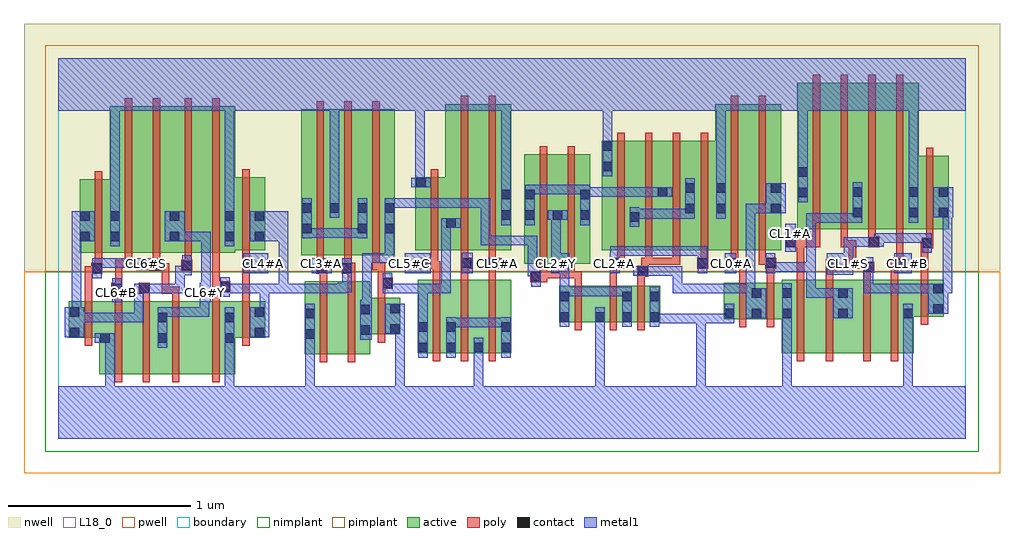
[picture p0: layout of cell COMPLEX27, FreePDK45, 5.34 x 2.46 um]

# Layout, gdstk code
import gdstk
lib = gdstk.Library(unit=1e-6, precision=1e-09)
def R(c, l, rs):  # rectangles x0, y0, x1, y1
    for r in rs: c.add(gdstk.rectangle(r[:2], r[2:], *l))
def A(c, l, x, y, w, h, nx, ny, dx, dy):  # array of equal rectangles
    R(c, l, [(x+i*dx, y+j*dy, x+i*dx+w, y+j*dy+h) for i in range(nx) for j in range(ny)])
active = (1, 0)
pwell = (2, 0)
nwell = (3, 0)
nimplant = (4, 0)
pimplant = (5, 0)
poly = (9, 0)
contact = (10, 0)
metal1 = (11, 0)
L18_0 = (18, 0)
boundary = (235, 0)

complex27 = lib.new_cell('COMPLEX27')
A(complex27, active, 1.964, 0.468, 0.06, 0.4, 3, 1, 0.152, 0)
A(complex27, active, 3.12, 1.03, 0.06, 0.526, 3, 1, 0.152, 0)
R(complex27, active, [(0.224,0.352,0.404,0.752), (0.404,0.352,0.598,0.752), (0.538,0.352,0.718,0.752), (0.718,0.352,0.966,0.752), (0.906,0.352,0.966,0.694), (1.346,0.462,1.526,0.862), (1.526,0.462,1.706,0.862), (1.646,0.462,1.706,0.736), (0.538,0.468,0.598,0.694), (1.346,0.468,1.406,0.862), (1.964,0.468,2.176,0.868), (2.116,0.468,2.328,0.868), (2.268,0.468,2.476,0.868), (2.416,0.468,2.476,0.868), (3.954,0.468,4.14,0.868), (3.954,0.468,4.014,0.826), (4.14,0.468,4.32,0.868), (4.26,0.468,4.32,0.868), (4.26,0.468,4.496,0.868), (4.496,0.468,4.676,0.868), (4.616,0.468,4.676,0.868), (0.224,0.522,0.284,0.752), (0.058,0.552,0.118,0.752), (0.058,0.552,0.284,0.752), (0.906,0.552,1.13,0.752), (1.07,0.552,1.13,0.752), (1.646,0.57,1.87,0.77), (1.81,0.57,1.87,0.77), (2.738,0.636,2.798,0.836), (2.738,0.636,2.99,0.836), (2.93,0.636,3.138,0.836), (2.93,0.636,2.99,0.696), (3.078,0.636,3.138,0.808), (3.078,0.636,3.29,0.836), (3.23,0.636,3.29,0.836), (3.638,0.654,3.698,0.854), (3.638,0.654,3.846,0.854), (3.786,0.654,4.014,0.854), (3.786,0.654,3.846,0.826), (4.616,0.668,4.84,0.868), (4.78,0.668,4.84,0.868), (2.548,0.956,2.76,1.556), (2.548,0.956,2.608,1.556), (2.7,0.956,2.908,1.556), (2.7,0.956,2.76,1.556), (2.848,0.956,2.908,1.556), (1.328,1.002,1.388,1.724), (1.328,1.002,1.54,1.802), (1.48,1.002,1.692,1.802), (1.632,1.002,1.692,1.724), (1.632,1.002,1.84,1.802), (1.78,1.002,1.84,1.724), (0.116,1.018,0.176,1.418), (0.116,1.018,0.34,1.418), (0.28,1.018,0.46,1.818), (0.46,1.018,0.666,1.818), (0.606,1.018,0.786,1.818), (0.606,1.018,0.666,1.724), (0.786,1.018,0.966,1.818), (0.906,1.03,1.13,1.43), (0.906,1.03,0.966,1.356), (1.07,1.03,1.13,1.356), (1.952,1.03,2.012,1.43), (1.952,1.03,2.176,1.43), (2.116,1.03,2.296,1.83), (2.296,1.03,2.476,1.83), (2.416,1.03,2.476,1.756), (2.972,1.03,3.18,1.63), (2.972,1.03,3.032,1.63), (3.12,1.03,3.332,1.63), (3.272,1.03,3.484,1.63), (3.424,1.03,3.652,1.63), (3.592,1.03,3.772,1.83), (3.592,1.03,3.652,1.556), (3.772,1.03,3.952,1.83), (3.892,1.03,3.952,1.724), (0.28,1.076,0.34,1.356), (4.04,1.146,4.22,1.946), (4.04,1.146,4.1,1.756), (4.22,1.146,4.4,1.946), (4.34,1.146,4.524,1.946), (4.34,1.146,4.4,1.724), (4.524,1.146,4.704,1.946), (4.644,1.146,4.704,1.378), (4.644,1.146,4.868,1.546), (4.808,1.146,4.868,1.378), (2.116,1.15,2.176,1.62), (1.48,1.206,1.54,1.756)])
R(complex27, pwell, [(-0.188,-0.188,5.148,0.912)])
R(complex27, nwell, [(-0.188,0.912,5.148,2.268)])
R(complex27, nimplant, [(-0.072,-0.072,5.032,0.912)])
R(complex27, pimplant, [(-0.072,0.912,5.032,2.152)])
A(complex27, poly, 2.048, 0.424, 0.04, 0.488, 3, 1, 0.152, 0)
A(complex27, poly, 2.048, 0.872, 0.04, 0.098, 3, 1, 0.152, 0)
A(complex27, poly, 1.412, 0.922, 0.04, 0.076, 3, 1, 0.152, 0)
A(complex27, poly, 3.056, 0.95, 0.04, 0.076, 4, 1, 0.152, 0)
A(complex27, poly, 1.412, 0.958, 0.04, 0.888, 3, 1, 0.152, 0)
A(complex27, poly, 3.056, 0.986, 0.04, 0.688, 4, 1, 0.152, 0)
A(complex27, poly, 4.124, 1.102, 0.04, 0.888, 4, 1, 0.152, 0)
R(complex27, poly, [(0.308,0.308,0.348,0.796), (0.46,0.308,0.5,0.796), (0.622,0.308,0.662,0.796), (0.842,0.308,0.882,0.796), (1.43,0.418,1.47,0.906), (1.582,0.418,1.622,0.906), (4.038,0.424,4.078,0.912), (4.196,0.424,4.236,0.912), (4.4,0.424,4.44,0.912), (4.552,0.424,4.592,0.912), (0.144,0.508,0.184,0.796), (1.006,0.508,1.046,0.796), (1.746,0.526,1.786,0.814), (2.822,0.592,2.862,0.88), (3.014,0.592,3.054,0.88), (3.166,0.592,3.206,0.88), (3.722,0.61,3.762,0.898), (3.874,0.61,3.914,0.898), (4.716,0.624,4.756,0.912), (0.144,0.756,0.184,0.942), (0.308,0.756,0.348,0.832), (0.46,0.756,0.5,0.832), (0.622,0.756,0.662,0.832), (0.842,0.756,0.882,0.84), (1.006,0.756,1.046,0.97), (1.746,0.774,1.786,0.86), (0.29,0.792,0.35,0.852), (0.44,0.792,0.5,0.852), (0.566,0.792,0.606,0.832), (0.566,0.792,0.662,0.832), (0.566,0.792,0.606,0.958), (0.622,0.792,0.662,0.832), (0.842,0.8,0.94,0.86), (0.31,0.812,0.35,0.978), (0.842,0.82,0.882,0.86), (0.842,0.82,0.882,0.86), (0.842,0.82,0.882,1.014), (1.746,0.82,1.828,0.88), (1.746,0.84,1.786,0.962), (2.822,0.84,2.862,0.916), (3.014,0.84,3.054,0.97), (3.166,0.84,3.206,0.926), (2.58,0.856,2.672,0.916), (3.722,0.858,3.762,0.97), (3.874,0.858,3.914,0.97), (1.43,0.866,1.47,0.942), (1.582,0.866,1.622,0.942), (4.038,0.872,4.078,1.086), (4.196,0.872,4.236,0.96), (4.4,0.872,4.44,0.948), (4.552,0.872,4.592,0.97), (4.716,0.872,4.756,1.08), (2.632,0.876,2.672,0.916), (2.632,0.876,2.672,0.916), (2.632,0.876,2.672,0.952), (2.632,0.876,2.824,0.916), (2.784,0.876,2.824,0.952), (2.784,0.876,2.862,0.916), (2.822,0.876,2.862,0.916), (2.822,0.876,2.862,0.916), (3.166,0.886,3.226,0.946), (0.144,0.902,0.22,0.942), (0.18,0.902,0.22,0.942), (0.18,0.902,0.24,0.962), (1.41,0.902,1.47,0.962), (1.43,0.902,1.47,0.942), (1.43,0.902,1.47,0.942), (1.548,0.902,1.622,0.962), (3.186,0.906,3.226,0.99), (4.4,0.908,4.46,0.968), (2.632,0.912,2.672,1.6), (2.784,0.912,2.824,1.6), (0.496,0.918,0.556,0.978), (0.516,0.918,0.606,0.958), (0.566,0.918,0.606,0.958), (0.672,0.918,0.732,0.978), (4.196,0.92,4.256,0.98), (0.2,0.922,0.24,1.014), (1.564,0.922,1.604,0.962), (1.564,0.922,1.604,0.962), (1.716,0.922,1.786,0.962), (4.322,0.928,4.362,0.968), (4.322,0.928,4.44,0.968), (4.322,0.928,4.362,1.086), (1.006,0.93,1.046,0.97), (1.006,0.93,1.046,0.97), (1.006,0.93,1.066,0.99), (1.98,0.93,2.076,0.99), (2.036,0.93,2.076,0.97), (2.036,0.93,2.088,0.97), (2.2,0.93,2.24,0.97), (2.2,0.93,2.24,0.97), (2.2,0.93,2.26,0.99), (2.352,0.93,2.412,0.99), (3.014,0.93,3.054,0.97), (3.014,0.93,3.054,0.97), (3.014,0.93,3.096,0.99), (3.492,0.93,3.552,0.99), (3.65,0.93,3.716,0.99), (3.676,0.93,3.716,0.97), (3.676,0.93,3.762,0.97), (3.864,0.93,3.924,0.99), (4.552,0.93,4.626,0.99), (0.31,0.938,0.404,0.978), (0.364,0.938,0.404,1.014), (0.516,0.938,0.556,1.014), (0.69,0.938,0.73,1.014), (1.006,0.95,1.046,1.026), (2.036,0.95,2.076,1.026), (2.2,0.95,2.24,1.026), (2.352,0.95,2.392,0.99), (2.352,0.95,2.392,0.99), (2.352,0.95,2.392,1.026), (3.186,0.95,3.248,0.99), (3.208,0.95,3.248,0.99), (3.208,0.95,3.248,0.99), (3.208,0.95,3.4,0.99), (3.36,0.95,3.4,0.99), (3.676,0.95,3.716,1.026), (3.828,0.95,3.868,1.026), (3.828,0.95,3.904,0.99), (3.864,0.95,3.904,0.99), (4.58,0.95,4.62,0.99), (4.58,0.95,4.62,0.99), (4.58,0.95,4.62,1.142), (0.2,0.974,0.24,1.462), (0.364,0.974,0.404,1.862), (0.516,0.974,0.556,1.862), (0.69,0.974,0.73,1.862), (0.842,0.974,0.882,1.862), (1.006,0.986,1.046,1.474), (2.036,0.986,2.076,1.474), (2.2,0.986,2.24,1.874), (2.352,0.986,2.392,1.874), (3.676,0.986,3.716,1.874), (3.828,0.986,3.868,1.874), (4.716,1.04,4.76,1.08), (4.72,1.04,4.76,1.08), (4.72,1.04,4.784,1.1), (3.976,1.046,4.164,1.106), (4.038,1.046,4.078,1.086), (4.038,1.046,4.078,1.086), (4.276,1.046,4.316,1.086), (4.276,1.046,4.362,1.086), (4.276,1.046,4.316,1.142), (4.322,1.046,4.362,1.086), (4.428,1.046,4.488,1.106), (4.744,1.06,4.784,1.142), (4.124,1.066,4.164,1.142), (4.428,1.066,4.468,1.142), (4.744,1.102,4.784,1.59)])
A(complex27, contact, 1.968, 0.472, 0.052, 0.052, 3, 1, 0.152, 0)
A(complex27, contact, 1.332, 1.236, 0.052, 0.052, 3, 1, 0.152, 0)
R(complex27, contact, [(2.42,0.472,2.472,0.524), (0.228,0.526,0.28,0.578), (0.542,0.526,0.594,0.578), (0.91,0.526,0.962,0.578), (1.35,0.546,1.402,0.598), (0.062,0.556,0.114,0.608), (1.074,0.556,1.126,0.608), (1.65,0.568,1.702,0.62), (1.814,0.574,1.866,0.626), (1.968,0.584,2.02,0.636), (2.12,0.584,2.172,0.636), (2.42,0.584,2.472,0.636), (0.542,0.638,0.594,0.69), (0.91,0.638,0.962,0.69), (2.742,0.64,2.794,0.692), (2.934,0.64,2.986,0.692), (3.082,0.64,3.134,0.692), (3.234,0.64,3.286,0.692), (1.35,0.658,1.402,0.71), (3.642,0.658,3.694,0.71), (3.79,0.658,3.842,0.71), (3.958,0.658,4.01,0.71), (4.264,0.658,4.316,0.71), (4.62,0.658,4.672,0.71), (0.062,0.668,0.114,0.72), (1.074,0.668,1.126,0.72), (1.65,0.68,1.702,0.732), (4.784,0.684,4.836,0.736), (1.814,0.686,1.866,0.738), (2.742,0.752,2.794,0.804), (3.082,0.752,3.134,0.804), (3.234,0.752,3.286,0.804), (3.79,0.77,3.842,0.822), (3.958,0.77,4.01,0.822), (4.264,0.77,4.316,0.822), (0.294,0.796,0.346,0.848), (0.444,0.796,0.496,0.848), (4.784,0.796,4.836,0.848), (0.884,0.804,0.936,0.856), (1.772,0.824,1.824,0.876), (2.584,0.86,2.636,0.912), (3.17,0.89,3.222,0.942), (0.184,0.906,0.236,0.958), (1.414,0.906,1.466,0.958), (1.552,0.906,1.604,0.958), (4.404,0.912,4.456,0.964), (0.5,0.922,0.552,0.974), (0.676,0.922,0.728,0.974), (4.2,0.924,4.252,0.976), (1.01,0.934,1.062,0.986), (1.984,0.934,2.036,0.986), (2.204,0.934,2.256,0.986), (2.356,0.934,2.408,0.986), (3.018,0.934,3.07,0.986), (3.496,0.934,3.548,0.986), (3.654,0.934,3.706,0.986), (3.868,0.934,3.92,0.986), (4.57,0.934,4.622,0.986), (4.724,1.044,4.776,1.096), (3.98,1.05,4.032,1.102), (4.432,1.05,4.484,1.102), (0.12,1.08,0.172,1.132), (0.284,1.08,0.336,1.132), (0.61,1.08,0.662,1.132), (0.91,1.08,0.962,1.132), (1.074,1.08,1.126,1.132), (1.332,1.124,1.384,1.176), (1.636,1.124,1.688,1.176), (1.784,1.124,1.836,1.176), (2.12,1.154,2.172,1.206), (3.124,1.186,3.176,1.238), (0.12,1.192,0.172,1.244), (0.284,1.192,0.336,1.244), (0.61,1.192,0.662,1.244), (0.91,1.192,0.962,1.244), (1.074,1.192,1.126,1.244), (2.42,1.196,2.472,1.248), (2.552,1.196,2.604,1.248), (2.704,1.196,2.756,1.248), (2.852,1.196,2.904,1.248), (4.344,1.21,4.396,1.262), (4.648,1.21,4.7,1.262), (4.812,1.21,4.864,1.262), (3.428,1.232,3.48,1.284), (3.596,1.232,3.648,1.284), (3.896,1.232,3.948,1.284), (1.784,1.236,1.836,1.288), (2.42,1.308,2.472,1.36), (2.552,1.308,2.604,1.36), (2.852,1.308,2.904,1.36), (4.044,1.32,4.096,1.372), (4.344,1.322,4.396,1.374), (4.648,1.322,4.7,1.374), (4.812,1.322,4.864,1.374), (3.276,1.324,3.328,1.376), (3.428,1.344,3.48,1.396), (3.596,1.344,3.648,1.396), (3.896,1.344,3.948,1.396), (1.956,1.374,2.008,1.426), (4.044,1.432,4.096,1.484), (2.976,1.462,3.028,1.514), (2.976,1.574,3.028,1.626)])
R(complex27, metal1, [(0,0,4.96,0.288), (0.256,0.236,0.308,0.288), (0.256,0.236,0.308,0.288), (0.256,0.236,0.308,0.578), (0.91,0.236,0.962,0.55), (1.35,0.236,1.402,0.288), (1.35,0.236,1.402,0.288), (1.35,0.236,1.402,0.57), (1.842,0.236,1.894,0.288), (1.842,0.236,1.894,0.288), (1.842,0.236,1.894,0.288), (1.842,0.236,1.894,0.288), (1.842,0.236,1.894,0.288), (1.842,0.236,1.894,0.288), (1.842,0.236,1.894,0.626), (2.272,0.236,2.324,0.288), (2.272,0.236,2.324,0.288), (2.272,0.236,2.324,0.496), (2.934,0.236,2.986,0.288), (2.934,0.236,2.986,0.288), (2.934,0.236,2.986,0.288), (2.934,0.236,2.986,0.288), (2.934,0.236,2.986,0.288), (2.934,0.236,2.986,0.288), (2.934,0.236,2.986,0.664), (3.486,0.236,3.538,0.288), (3.486,0.236,3.538,0.288), (3.486,0.236,3.538,0.288), (3.486,0.236,3.538,0.288), (3.486,0.236,3.538,0.288), (3.486,0.236,3.538,0.288), (3.486,0.236,3.538,0.288), (3.486,0.236,3.538,0.288), (3.486,0.236,3.538,0.682), (3.958,0.236,4.01,0.288), (3.958,0.236,4.01,0.288), (3.958,0.236,4.01,0.682), (4.62,0.236,4.672,0.288), (4.62,0.236,4.672,0.288), (4.62,0.236,4.672,0.682), (1.968,0.444,2.02,0.664), (2.12,0.444,2.172,0.664), (2.272,0.444,2.324,0.552), (2.42,0.444,2.472,0.664), (0.542,0.498,0.594,0.718), (0.91,0.498,0.962,0.55), (0.91,0.498,0.962,0.55), (0.91,0.498,0.962,0.718), (1.35,0.518,1.402,0.738), (0.2,0.526,0.308,0.578), (1.65,0.54,1.714,0.76), (0.034,0.556,0.142,0.72), (1.046,0.556,1.154,0.72), (1.786,0.574,1.894,0.738), (2.12,0.61,2.172,0.662), (2.12,0.61,2.172,0.662), (2.12,0.61,2.362,0.662), (2.31,0.61,2.362,0.662), (2.31,0.61,2.362,0.662), (2.31,0.61,2.362,0.662), (2.31,0.61,2.472,0.662), (1.968,0.612,2.02,0.848), (2.742,0.612,2.794,0.832), (2.934,0.612,2.986,0.72), (3.082,0.612,3.134,0.832), (3.234,0.612,3.286,0.832), (3.234,0.63,3.41,0.682), (3.358,0.63,3.41,0.682), (3.358,0.63,3.538,0.682), (3.486,0.63,3.538,0.682), (3.486,0.63,3.538,0.682), (3.486,0.63,3.538,0.682), (3.486,0.63,3.694,0.682), (3.642,0.63,3.694,0.738), (3.958,0.63,4.01,0.85), (4.62,0.63,4.672,0.738), (0.09,0.636,0.142,0.688), (0.09,0.636,0.142,0.688), (0.09,0.636,0.358,0.688), (0.306,0.636,0.358,0.688), (0.306,0.636,0.358,0.688), (0.306,0.636,0.358,0.688), (0.306,0.636,0.468,0.688), (0.416,0.636,0.468,0.688), (0.416,0.636,0.468,0.848), (3.758,0.658,3.87,0.822), (4.236,0.658,4.344,0.822), (0.542,0.666,0.826,0.718), (0.774,0.666,0.826,0.718), (0.774,0.666,0.826,0.718), (0.774,0.666,0.826,0.718), (0.774,0.666,0.826,0.798), (0.074,0.668,0.126,0.72), (0.074,0.668,0.126,0.72), (0.074,0.668,0.126,0.72), (0.074,0.668,0.126,0.72), (0.074,0.668,0.126,1.132), (1.102,0.668,1.154,0.848), (4.756,0.684,4.864,0.848), (1.662,0.708,1.714,1.014), (0.294,0.746,0.346,0.876), (0.774,0.746,0.832,0.854), (3.758,0.77,3.81,0.848), (4.09,0.77,4.142,0.822), (4.09,0.77,4.288,0.822), (4.09,0.77,4.142,0.964), (4.236,0.77,4.288,0.822), (4.236,0.77,4.288,0.822), (0.884,0.776,0.936,0.884), (2.742,0.78,2.794,0.832), (2.742,0.78,2.794,0.832), (2.742,0.78,2.918,0.832), (2.742,0.78,2.794,0.958), (2.866,0.78,2.918,0.832), (2.866,0.78,2.918,0.832), (2.866,0.78,2.918,0.832), (2.866,0.78,3.028,0.832), (2.976,0.78,3.028,0.832), (2.976,0.78,3.134,0.832), (0.416,0.796,0.468,0.848), (0.416,0.796,0.468,0.848), (0.416,0.796,0.524,0.848), (0.472,0.796,0.69,0.848), (0.638,0.796,0.69,0.848), (0.638,0.796,0.69,0.946), (0.884,0.796,0.988,0.848), (0.936,0.796,0.988,0.848), (0.936,0.796,1.154,0.848), (1.102,0.796,1.154,0.848), (1.102,0.796,1.154,0.848), (1.102,0.796,1.256,0.848), (1.204,0.796,1.426,0.848), (1.204,0.796,1.256,1.132), (1.374,0.796,1.426,0.848), (1.374,0.796,1.426,0.848), (1.374,0.796,1.426,0.848), (1.374,0.796,1.578,0.848), (1.526,0.796,1.578,0.852), (1.772,0.796,1.824,0.848), (1.772,0.796,1.824,0.848), (1.772,0.796,1.824,0.904), (1.772,0.796,2.02,0.848), (1.968,0.796,2.02,0.848), (1.968,0.796,2.02,0.848), (1.968,0.796,2.02,0.848), (1.968,0.796,2.146,0.848), (2.094,0.796,2.146,0.848), (2.094,0.796,2.146,1.206), (3.358,0.796,3.52,0.848), (3.358,0.796,3.41,0.942), (3.468,0.796,3.52,0.848), (3.468,0.796,3.52,0.848), (3.468,0.796,3.52,0.848), (3.468,0.796,3.7,0.848), (3.648,0.796,3.7,0.848), (3.648,0.796,3.7,0.848), (3.648,0.796,3.7,0.848), (3.648,0.796,3.81,0.848), (3.758,0.796,3.81,0.848), (3.758,0.796,3.81,1.284), (4.404,0.796,4.456,0.848), (4.404,0.796,4.666,0.848), (4.404,0.796,4.456,0.936), (4.614,0.796,4.666,0.848), (4.614,0.796,4.666,0.848), (4.614,0.796,4.666,0.848), (4.614,0.796,4.808,0.848), (4.756,0.796,4.808,0.848), (4.756,0.796,4.808,0.848), (4.812,0.796,4.864,0.848), (4.812,0.796,4.886,0.848), (4.834,0.796,4.886,1.262), (4.834,0.796,4.886,0.848), (4.834,0.796,4.886,0.848), (1.526,0.8,1.604,0.852), (1.552,0.8,1.604,0.986), (0.78,0.802,0.832,1.132), (2.584,0.832,2.636,0.94), (0.184,0.878,0.236,0.986), (4.404,0.884,4.456,0.936), (4.404,0.884,4.456,0.936), (4.404,0.884,4.456,0.992), (2.566,0.888,2.618,0.94), (2.566,0.888,2.636,0.94), (2.566,0.888,2.618,1.11), (3.142,0.89,3.25,0.942), (3.198,0.89,3.3,0.942), (3.248,0.89,3.3,0.942), (3.248,0.89,3.41,0.942), (0.638,0.894,0.69,0.946), (0.638,0.894,0.728,0.946), (0.676,0.894,0.728,1.002), (4.2,0.896,4.346,1.014), (1.01,0.906,1.146,1.014), (1.386,0.906,1.494,0.986), (1.894,0.906,2.036,1.014), (2.204,0.906,2.266,1.016), (2.694,0.906,2.794,1.014), (3.014,0.906,3.07,1.014), (3.496,0.906,3.548,1.052), (3.642,0.906,3.706,1.014), (3.868,0.906,3.92,1.014), (4.57,0.906,4.666,1.014), (3.868,0.912,3.92,0.964), (3.868,0.912,3.92,0.964), (3.868,0.912,4.032,0.964), (3.98,0.912,4.032,0.964), (3.98,0.912,4.032,0.964), (3.98,0.912,4.032,0.964), (3.98,0.912,4.142,0.964), (4.09,0.912,4.142,0.964), (4.09,0.912,4.142,0.964), (4.09,0.912,4.142,0.964), (4.09,0.912,4.142,1.234), (0.426,0.922,0.58,0.986), (0.184,0.934,0.346,0.986), (0.294,0.934,0.346,0.986), (0.294,0.934,0.346,0.986), (0.294,0.934,0.346,0.986), (0.294,0.934,0.478,0.986), (0.426,0.934,0.478,0.986), (0.426,0.934,0.478,0.986), (2.328,0.934,2.454,0.986), (1.662,0.962,1.714,1.014), (1.662,0.962,1.714,1.014), (1.662,0.962,1.714,1.014), (1.662,0.962,1.714,1.014), (1.662,0.962,1.714,1.014), (1.662,0.962,1.836,1.014), (1.784,0.962,1.836,1.014), (1.784,0.962,1.836,1.148), (2.694,0.962,2.746,1.014), (2.694,0.962,2.746,1.014), (2.694,0.962,2.746,1.248), (3.018,0.962,3.07,1.014), (3.018,0.962,3.07,1.052), (4.294,0.962,4.346,1.014), (4.294,0.962,4.346,1.014), (4.294,0.962,4.346,1.102), (3.018,1,3.286,1.052), (3.234,1,3.286,1.052), (3.234,1,3.286,1.052), (3.234,1,3.286,1.052), (3.234,1,3.41,1.052), (3.358,1,3.41,1.052), (3.358,1,3.41,1.052), (3.358,1,3.41,1.052), (3.358,1,3.548,1.052), (4.724,1.016,4.776,1.124), (3.974,1.022,4.032,1.174), (4.294,1.05,4.346,1.102), (4.294,1.05,4.456,1.102), (4.404,1.05,4.512,1.102), (4.46,1.05,4.512,1.102), (4.46,1.05,4.512,1.124), (0.284,1.052,0.336,1.272), (0.91,1.052,0.962,1.272), (2.31,1.058,2.362,1.11), (2.31,1.058,2.362,1.11), (2.31,1.058,2.472,1.11), (2.31,1.058,2.362,1.316), (2.42,1.058,2.472,1.11), (2.42,1.058,2.472,1.11), (2.42,1.058,2.618,1.11), (2.566,1.058,2.618,1.11), (4.46,1.072,4.666,1.124), (4.614,1.072,4.666,1.124), (4.614,1.072,4.666,1.124), (4.614,1.072,4.666,1.124), (4.614,1.072,4.776,1.124), (0.074,1.08,0.2,1.244), (0.582,1.08,0.69,1.244), (0.638,1.08,0.69,1.132), (0.638,1.08,0.69,1.132), (0.638,1.08,0.832,1.132), (0.78,1.08,0.832,1.132), (0.78,1.08,0.832,1.132), (0.78,1.08,0.832,1.132), (1.046,1.08,1.256,1.244), (1.204,1.08,1.256,1.132), (1.204,1.08,1.256,1.132), (1.332,1.096,1.384,1.316), (1.636,1.096,1.688,1.316), (1.784,1.096,1.836,1.316), (1.332,1.098,1.384,1.15), (1.332,1.098,1.384,1.15), (1.332,1.098,1.578,1.15), (1.526,1.098,1.578,1.15), (1.526,1.098,1.578,1.15), (1.526,1.098,1.578,1.15), (1.526,1.098,1.688,1.15), (2.092,1.154,2.2,1.206), (2.094,1.154,2.146,1.206), (2.094,1.154,2.146,1.206), (3.124,1.158,3.176,1.266), (2.42,1.168,2.472,1.388), (2.552,1.168,2.604,1.388), (2.852,1.168,2.904,1.388), (4.09,1.182,4.142,1.234), (4.09,1.182,4.142,1.234), (4.09,1.182,4.142,1.234), (4.09,1.182,4.396,1.234), (4.344,1.182,4.396,1.402), (4.648,1.182,4.7,1.402), (2.676,1.196,2.784,1.248), (3.124,1.204,3.3,1.256), (3.248,1.204,3.3,1.256), (3.248,1.204,3.3,1.256), (3.248,1.204,3.3,1.256), (3.248,1.204,3.41,1.256), (3.358,1.204,3.41,1.256), (3.358,1.204,3.48,1.256), (3.428,1.204,3.48,1.424), (3.596,1.204,3.648,1.424), (1.484,1.208,1.536,1.316), (4.784,1.21,4.892,1.374), (0.284,1.22,0.336,1.844), (0.91,1.22,0.962,1.844), (3.758,1.232,3.81,1.284), (3.758,1.232,3.81,1.284), (3.758,1.232,3.81,1.284), (3.758,1.232,3.816,1.284), (3.764,1.232,3.816,1.284), (3.764,1.232,3.92,1.284), (3.868,1.232,3.976,1.396), (1.484,1.264,1.536,1.844), (1.784,1.264,1.946,1.316), (1.894,1.264,1.946,1.316), (1.894,1.264,1.946,1.316), (1.894,1.264,1.946,1.316), (1.894,1.264,1.946,1.316), (1.894,1.264,1.946,1.316), (1.894,1.264,2.214,1.316), (2.162,1.264,2.214,1.316), (2.162,1.264,2.214,1.316), (2.162,1.264,2.214,1.316), (2.162,1.264,2.362,1.316), (2.31,1.264,2.362,1.316), (4.044,1.292,4.096,1.512), (2.852,1.324,2.904,1.376), (2.852,1.324,2.904,1.376), (2.852,1.324,3.084,1.376), (3.032,1.324,3.084,1.376), (3.032,1.324,3.084,1.376), (3.032,1.324,3.084,1.376), (3.032,1.324,3.3,1.376), (3.248,1.324,3.3,1.376), (3.248,1.324,3.3,1.376), (3.248,1.324,3.356,1.376), (2.42,1.336,2.472,1.844), (2.552,1.336,2.604,1.388), (2.552,1.336,2.604,1.388), (2.552,1.336,2.794,1.388), (2.742,1.336,2.794,1.388), (2.742,1.336,2.794,1.388), (2.742,1.336,2.794,1.388), (2.742,1.336,2.904,1.388), (4.648,1.35,4.7,1.844), (3.596,1.372,3.648,1.844), (1.928,1.374,2.036,1.426), (1.952,1.374,2.004,1.426), (1.952,1.374,2.004,1.426), (1.952,1.374,2.004,1.426), (1.952,1.374,2.004,1.426), (1.952,1.374,2.004,1.426), (1.952,1.374,2.004,1.426), (1.952,1.374,2.004,1.844), (2.976,1.434,3.028,1.654), (4.044,1.46,4.096,1.844), (2.976,1.602,3.028,1.654), (2.976,1.602,3.028,1.654), (2.976,1.602,3.028,1.654), (2.976,1.602,3.028,1.654), (2.976,1.602,3.028,1.844), (0,1.792,4.96,2.08), (1.952,1.792,2.004,1.844), (1.952,1.792,2.004,1.844)])
A(complex27, L18_0, 2.374, 0.934, 0.052, 0.052, 3, 1, 0.32, 0)
R(complex27, L18_0, [(0,0,4.96,0.288), (0.256,0.236,0.308,0.288), (0.256,0.236,0.308,0.288), (0.256,0.236,0.308,0.578), (0.91,0.236,0.962,0.55), (1.35,0.236,1.402,0.288), (1.35,0.236,1.402,0.288), (1.35,0.236,1.402,0.57), (1.842,0.236,1.894,0.288), (1.842,0.236,1.894,0.288), (1.842,0.236,1.894,0.288), (1.842,0.236,1.894,0.288), (1.842,0.236,1.894,0.288), (1.842,0.236,1.894,0.288), (1.842,0.236,1.894,0.626), (2.272,0.236,2.324,0.288), (2.272,0.236,2.324,0.288), (2.272,0.236,2.324,0.496), (2.934,0.236,2.986,0.288), (2.934,0.236,2.986,0.288), (2.934,0.236,2.986,0.288), (2.934,0.236,2.986,0.288), (2.934,0.236,2.986,0.288), (2.934,0.236,2.986,0.288), (2.934,0.236,2.986,0.664), (3.486,0.236,3.538,0.288), (3.486,0.236,3.538,0.288), (3.486,0.236,3.538,0.288), (3.486,0.236,3.538,0.288), (3.486,0.236,3.538,0.288), (3.486,0.236,3.538,0.288), (3.486,0.236,3.538,0.288), (3.486,0.236,3.538,0.288), (3.486,0.236,3.538,0.682), (3.958,0.236,4.01,0.288), (3.958,0.236,4.01,0.288), (3.958,0.236,4.01,0.682), (4.62,0.236,4.672,0.288), (4.62,0.236,4.672,0.288), (4.62,0.236,4.672,0.682), (2.272,0.444,2.324,0.552), (0.542,0.498,0.594,0.718), (0.91,0.498,0.962,0.55), (0.91,0.498,0.962,0.55), (0.91,0.498,0.962,0.718), (1.35,0.518,1.402,0.738), (0.2,0.526,0.308,0.578), (1.786,0.574,1.894,0.738), (2.742,0.612,2.794,0.832), (2.934,0.612,2.986,0.72), (3.082,0.612,3.134,0.832), (3.234,0.612,3.286,0.832), (3.234,0.63,3.41,0.682), (3.358,0.63,3.41,0.682), (3.358,0.63,3.538,0.682), (3.486,0.63,3.538,0.682), (3.486,0.63,3.538,0.682), (3.486,0.63,3.538,0.682), (3.486,0.63,3.694,0.682), (3.642,0.63,3.694,0.738), (3.958,0.63,4.01,0.85), (4.62,0.63,4.672,0.738), (0.542,0.666,0.826,0.718), (0.774,0.666,0.826,0.718), (0.774,0.666,0.826,0.718), (0.774,0.666,0.826,0.718), (0.774,0.666,0.826,0.798), (0.294,0.746,0.346,0.876), (0.774,0.746,0.832,0.854), (0.294,0.774,0.346,0.826), (0.774,0.774,0.826,0.826), (2.742,0.78,2.794,0.832), (2.742,0.78,2.794,0.832), (2.742,0.78,2.794,0.958), (2.742,0.78,2.918,0.832), (2.866,0.78,2.918,0.832), (2.866,0.78,2.918,0.832), (2.866,0.78,2.918,0.832), (2.866,0.78,3.028,0.832), (2.976,0.78,3.028,0.832), (2.976,0.78,3.134,0.832), (0.78,0.802,0.832,1.132), (0.184,0.878,0.236,0.986), (4.2,0.896,4.346,1.014), (1.01,0.906,1.146,1.014), (1.386,0.906,1.494,0.986), (1.894,0.906,2.036,1.014), (2.204,0.906,2.266,1.016), (2.694,0.906,2.794,1.014), (3.014,0.906,3.07,1.014), (3.496,0.906,3.548,1.052), (3.642,0.906,3.706,1.014), (4.57,0.906,4.666,1.014), (0.426,0.922,0.58,0.986), (0.184,0.934,0.346,0.986), (0.294,0.934,0.346,0.986), (0.294,0.934,0.346,0.986), (0.294,0.934,0.346,0.986), (0.294,0.934,0.478,0.986), (0.426,0.934,0.478,0.986), (0.426,0.934,0.478,0.986), (0.454,0.934,0.506,0.986), (1.094,0.934,1.146,0.986), (1.414,0.934,1.466,0.986), (1.894,0.934,1.946,0.986), (2.214,0.934,2.266,0.986), (2.328,0.934,2.454,0.986), (3.654,0.934,3.706,0.986), (4.294,0.934,4.346,0.986), (4.614,0.934,4.666,0.986), (2.694,0.962,2.746,1.014), (2.694,0.962,2.746,1.014), (2.694,0.962,2.746,1.248), (3.018,0.962,3.07,1.014), (3.018,0.962,3.07,1.052), (4.294,0.962,4.346,1.014), (4.294,0.962,4.346,1.014), (4.294,0.962,4.346,1.102), (3.018,1,3.286,1.052), (3.234,1,3.286,1.052), (3.234,1,3.286,1.052), (3.234,1,3.286,1.052), (3.234,1,3.41,1.052), (3.358,1,3.41,1.052), (3.358,1,3.41,1.052), (3.358,1,3.41,1.052), (3.358,1,3.548,1.052), (4.724,1.016,4.776,1.124), (3.974,1.022,4.032,1.174), (4.294,1.05,4.346,1.102), (4.294,1.05,4.456,1.102), (4.404,1.05,4.512,1.102), (4.46,1.05,4.512,1.102), (4.46,1.05,4.512,1.124), (0.284,1.052,0.336,1.272), (0.91,1.052,0.962,1.272), (4.46,1.072,4.666,1.124), (4.614,1.072,4.666,1.124), (4.614,1.072,4.666,1.124), (4.614,1.072,4.666,1.124), (4.614,1.072,4.776,1.124), (0.582,1.08,0.69,1.244), (0.638,1.08,0.69,1.132), (0.638,1.08,0.69,1.132), (0.638,1.08,0.832,1.132), (0.78,1.08,0.832,1.132), (0.78,1.08,0.832,1.132), (0.78,1.08,0.832,1.132), (3.974,1.094,4.026,1.146), (2.42,1.168,2.472,1.388), (4.648,1.182,4.7,1.402), (2.676,1.196,2.784,1.248), (3.596,1.204,3.648,1.424), (1.484,1.208,1.536,1.316), (0.284,1.22,0.336,1.844), (0.91,1.22,0.962,1.844), (1.484,1.264,1.536,1.844), (4.044,1.292,4.096,1.512), (2.42,1.336,2.472,1.844), (4.648,1.35,4.7,1.844), (3.596,1.372,3.648,1.844), (1.928,1.374,2.036,1.426), (1.952,1.374,2.004,1.426), (1.952,1.374,2.004,1.426), (1.952,1.374,2.004,1.426), (1.952,1.374,2.004,1.426), (1.952,1.374,2.004,1.426), (1.952,1.374,2.004,1.426), (1.952,1.374,2.004,1.844), (2.976,1.434,3.028,1.654), (4.044,1.46,4.096,1.844), (2.976,1.602,3.028,1.654), (2.976,1.602,3.028,1.654), (2.976,1.602,3.028,1.654), (2.976,1.602,3.028,1.654), (2.976,1.602,3.028,1.844), (0,1.792,4.96,2.08), (1.952,1.792,2.004,1.844), (1.952,1.792,2.004,1.844)])
R(complex27, boundary, [(0,0,4.96,2.08)])
complex27.add(gdstk.Label('CL0#A', (3.68,0.96), layer=11, texttype=0))
complex27.add(gdstk.Label('CL1#A', (4,1.12), layer=11, texttype=0))
complex27.add(gdstk.Label('CL1#B', (4.64,0.96), layer=11, texttype=0))
complex27.add(gdstk.Label('CL1#S', (4.32,0.96), layer=11, texttype=0))
complex27.add(gdstk.Label('CL2#A', (3.04,0.96), layer=11, texttype=0))
complex27.add(gdstk.Label('CL2#Y', (2.72,0.96), layer=11, texttype=0))
complex27.add(gdstk.Label('CL3#A', (1.44,0.96), layer=11, texttype=0))
complex27.add(gdstk.Label('CL4#A', (1.12,0.96), layer=11, texttype=0))
complex27.add(gdstk.Label('CL5#A', (2.4,0.96), layer=11, texttype=0))
complex27.add(gdstk.Label('CL5#B', (2.24,0.96), layer=11, texttype=0))
complex27.add(gdstk.Label('CL5#C', (1.92,0.96), layer=11, texttype=0))
complex27.add(gdstk.Label('CL6#B', (0.32,0.8), layer=11, texttype=0))
complex27.add(gdstk.Label('CL6#S', (0.48,0.96), layer=11, texttype=0))
complex27.add(gdstk.Label('CL6#Y', (0.8,0.8), layer=11, texttype=0))

lib.write_gds('COMPLEX27.gds')
